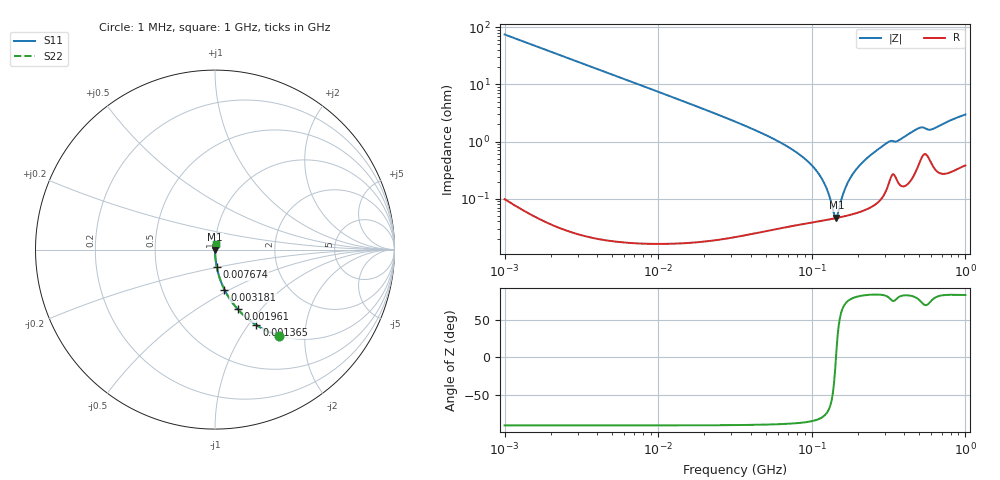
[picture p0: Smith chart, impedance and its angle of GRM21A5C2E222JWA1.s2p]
!Murata Part Number: GRM21A5C2E222JWA1
!These Parameters are Measured in Series Mode Connection
!Data Generated on Mar 30, 2021
!  o--ll--o
!Port1  Port2
!  o------o
!Operation Temp=25[degC], DC Bias Voltage=0[V]
!Freq. Start=1000[kHz] Stop=1000[MHz] 401[Steps]
# Hz S RI R 50
!Freq.(Hz) S11(Real) S11(Imag) S21(Real) S21(Imag) S12(Real) S12(Imag) S22(Real) S22(Imag)
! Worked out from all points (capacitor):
!   401 points, 1 MHz to 1 GHz, reference 50 ohm
!   read as one part in series: C = 2.13 nF near 1.035 MHz
!   lowest |Z| = 46.3 mohm at 144.5 MHz (marker M1)
!   series resonance near 143.7 MHz, so ESL is about 580 pH
!   S11 on the Smith chart (normalised r, x): 1 MHz: 1.00, -1.49; 1.365 MHz: 1.00, -1.10; 1.961 MHz: 1.00, -0.76; 3.181 MHz: 1.00, -0.47; 7.674 MHz: 1.00, -0.19; 1 GHz: 1.01, +0.06
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1000000  0.3585 -0.4789  0.6415 0.4789  0.6415 0.4789  0.3585 -0.4789
1364583  0.2309 -0.4209  0.7691 0.4209  0.7691 0.4209  0.2309 -0.4209
1961101  0.127 -0.3325  0.873 0.3325  0.873 0.3325  0.127 -0.3325
3180534  0.0525 -0.2225  0.9475 0.2225  0.9475 0.2225  0.0525 -0.2225
7673615  0.0095 -0.0961  0.9905 0.0961  0.9905 0.0961  0.0095 -0.0961
1.01158e7  0.00553 -0.0731  0.9945 0.0731  0.9945 0.0731  0.00553 -0.0731
3.162278e7  0.000714 -0.0224  0.9993 0.0224  0.9993 0.0224  0.000714 -0.0224
6.645077e7  0.000391 -0.00876  0.9996 0.00876  0.9996 0.00876  0.000391 -0.00876
1.005773e8  0.000398 -0.00375  0.9996 0.00375  0.9996 0.00375  0.000398 -0.00375
1.195364e8  0.00042 -0.00191  0.9996 0.00191  0.9996 0.00191  0.00042 -0.00191
1.280855e8  0.000432 -0.00119  0.9996 0.00119  0.9996 0.00119  0.000432 -0.00119
1.396368e8  0.000451 -0.000296  0.9995 0.000296  0.9995 0.000296  0.000451 -0.000296
1.44544e8  0.000459 6.06e-05  0.9995 -6.06e-05  0.9995 -6.06e-05  0.000459 6.06e-05
1.496236e8  0.000468 0.000418  0.9995 -0.000418  0.9995 -0.000418  0.000468 0.000418
1.659587e8  0.0005 0.0015  0.9995 -0.0015  0.9995 -0.0015  0.0005 0.0015
1.872837e8  0.00055 0.00279  0.9995 -0.00279  0.9995 -0.00279  0.00055 0.00279
2.304093e8  0.000688 0.00516  0.9993 -0.00516  0.9993 -0.00516  0.000688 0.00516
3.198895e8  0.00207 0.00982  0.9979 -0.00982  0.9979 -0.00982  0.00207 0.00982
3.60994e8  0.00212 0.00997  0.9979 -0.00997  0.9979 -0.00997  0.00212 0.00997
5.011872e8  0.00446 0.0167  0.9955 -0.0167  0.9955 -0.0167  0.00446 0.0167
6.060382e8  0.0042 0.0158  0.9958 -0.0158  0.9958 -0.0158  0.0042 0.0158
1e9  0.00466 0.0292  0.9953 -0.0292  0.9953 -0.0292  0.00466 0.0292
